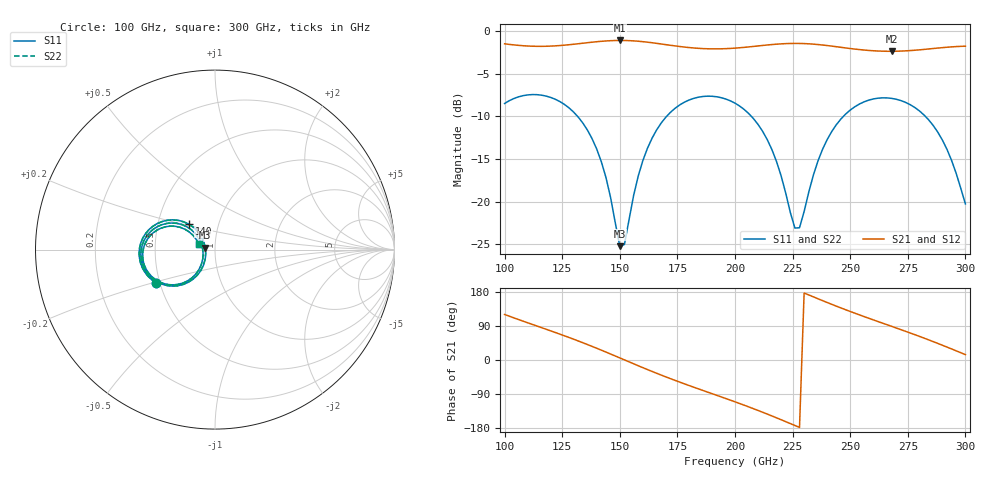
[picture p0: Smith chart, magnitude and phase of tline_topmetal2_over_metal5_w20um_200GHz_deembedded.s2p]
! Created with skrf 2.2.0 (http://scikit-rf.org).
# GHz S DB R 50.0
! Port[1] = P1
! Port[2] = P2
!freq dBS11 angS11 dBS21 angS21 dBS12 angS12 dBS22 angS22
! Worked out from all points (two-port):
!   101 points, 100 GHz to 300 GHz, reference 50 ohm
!   highest |S21| = -1.12 dB at 150 GHz (marker M1); lowest = -2.4 dB at 268 GHz (marker M2)
!   |S21| within 3 dB of the highest: start of sweep to end of sweep
!   lowest |S11| = -25.2 dB at 150 GHz (marker M3), VSWR 1.12, Z = 44.9 + j0.969 ohm
!   |S11| at or under -10 dB: 131.6 GHz to 170.4 GHz (38.75 GHz wide, 25.7 % of centre); 207.1 GHz to 247.1 GHz (40.07 GHz wide, 17.6 % of centre); 282.6 GHz to end of sweep
!   |S22| runs from -25.1 to -7.5 dB; largest |S21 - S12| = 1e-13
!   S11 on the Smith chart (normalised r, x): 100 GHz: 0.48, -0.21; 140 GHz: 0.72, +0.21; 300 GHz: 0.83, +0.05
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100  -8.50 -150.4  -1.51 120.1  -1.51 120.1  -8.50 -150.3
118  -7.64 174.8  -1.80 81.2  -1.80 81.2  -7.64 174.9
134  -10.81 144.8  -1.44 45.5  -1.44 45.5  -10.82 145.0
140  -13.86 135.7  -1.26 30.9  -1.26 30.9  -13.87 136.0
144  -17.19 133.5  -1.17 20.9  -1.17 20.9  -17.19 133.9
150  -25.23 168.7  -1.12 5.5  -1.12 5.5  -25.09 169.4
152  -25.04 -156.2  -1.12 0.3  -1.12 0.3  -24.86 -156.3
160  -15.21 -124.6  -1.26 -20.2  -1.26 -20.2  -15.17 -124.9
168  -10.78 -135.8  -1.53 -39.9  -1.53 -39.9  -10.77 -136.0
184  -7.77 -165.4  -2.04 -75.9  -2.04 -75.9  -7.77 -165.5
200  -8.47 165.5  -2.01 -110.4  -2.01 -110.4  -8.47 165.5
214  -12.74 142.9  -1.65 -142.7  -1.65 -142.7  -12.75 142.8
220  -16.97 140.8  -1.51 -157.6  -1.51 -157.6  -16.99 140.6
226  -23.12 173.7  -1.46 -172.9  -1.46 -172.9  -23.19 173.6
228  -23.07 -160.8  -1.47 -178.0  -1.47 -178.0  -23.14 -160.7
234  -16.92 -128.8  -1.55 166.7  -1.55 166.7  -16.93 -128.6
240  -12.74 -131.2  -1.71 151.7  -1.71 151.7  -12.74 -131.0
248  -9.75 -143.2  -1.99 132.7  -1.99 132.7  -9.75 -143.1
268  -7.91 -178.3  -2.38 88.8  -2.38 88.8  -7.91 -178.2
286  -11.07 152.1  -2.06 48.6  -2.06 48.6  -11.08 152.1
294  -15.18 145.6  -1.87 29.2  -1.87 29.2  -15.19 145.5
300  -20.28 160.8  -1.79 14.1  -1.79 14.1  -20.34 160.7
